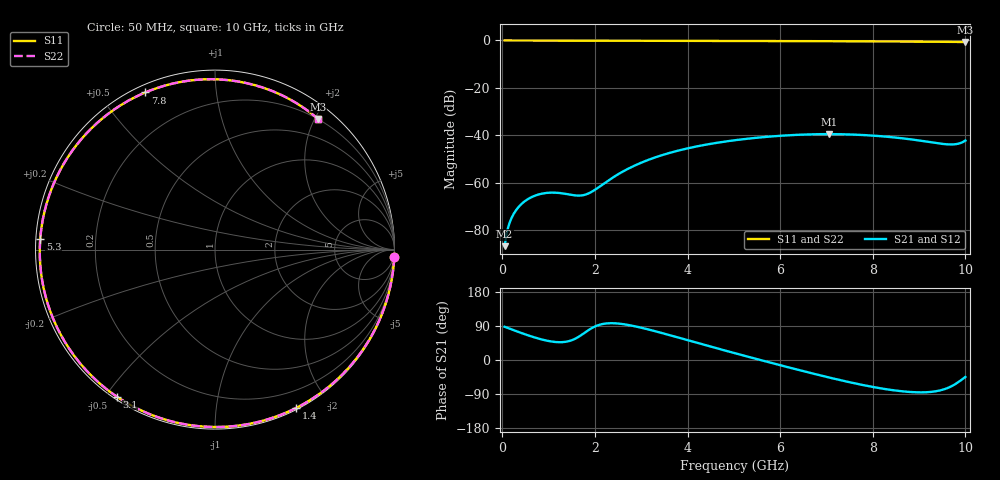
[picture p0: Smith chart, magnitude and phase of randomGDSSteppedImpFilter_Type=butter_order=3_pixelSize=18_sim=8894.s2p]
! freq	dB(S11)	phase(S11)	dB(S12)	phase(S12)
!  dB(S21)	phase(S21)	dB(S22)	phase(S22)
!S-par simulation data
#  GHz  S  DB  R 50
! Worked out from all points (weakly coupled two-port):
!   200 points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, 50 MHz to 10 GHz, reference 50 ohm
!   highest |S21| = -39.56 dB at 7.05 GHz (marker M1); lowest = -86.9 dB at 50 MHz (marker M2)
!   lowest |S11| = -0.7 dB at 10 GHz (marker M3), VSWR 26.36, Z = 9.92 + j102 ohm
!   |S11| at or under -10 dB: nowhere
!   |S22| runs from -0.7 to 0.0 dB; largest |S21 - S12| = 0
!   S11 on the Smith chart (normalised r, x): 50 MHz: 0, -48; 1.4 GHz: 0.02, -1.63; 3.1 GHz: 0.01, -0.53; 5.3 GHz: 0.01, +0.03; 7.8 GHz: 0.03, +0.65; 10 GHz: 0.20, +2.05
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0.05  -0.00 -2.4  -86.89 87.7  -86.89 87.7  -0.00 -2.4
0.1  -0.01 -4.8  -80.90 85.4  -80.90 85.4  -0.01 -4.8
0.2  -0.01 -9.5  -74.97 80.8  -74.97 80.8  -0.01 -9.5
0.35  -0.02 -16.5  -70.38 74.0  -70.38 74.0  -0.02 -16.5
0.6  -0.04 -28.0  -66.50 63.3  -66.50 63.3  -0.04 -28.0
0.95  -0.06 -43.7  -64.41 51.3  -64.41 51.3  -0.06 -43.7
1.4  -0.08 -63.0  -64.92 48.8  -64.92 48.8  -0.08 -63.0
1.75  -0.09 -77.0  -65.34 69.4  -65.34 69.4  -0.09 -77.0
2.35  -0.11 -99.2  -58.38 97.1  -58.38 97.1  -0.11 -99.2
3.1  -0.13 -123.8  -50.84 82.3  -50.84 82.3  -0.13 -123.8
3.4  -0.14 -132.8  -48.75 72.7  -48.75 72.7  -0.14 -132.8
4.2  -0.17 -155.3  -44.75 45.6  -44.75 45.6  -0.17 -155.3
5.05  -0.20 -177.3  -42.07 17.0  -42.07 17.0  -0.20 -177.3
5.3  -0.22 176.4  -41.49 8.8  -41.49 8.8  -0.22 176.4
6  -0.25 159.1  -40.27 -13.7  -40.27 -13.7  -0.25 159.1
6.7  -0.30 141.9  -39.64 -35.5  -39.64 -35.5  -0.30 141.9
7.05  -0.32 133.1  -39.56 -46.0  -39.56 -46.0  -0.32 133.1
7.8  -0.37 113.9  -39.96 -66.4  -39.96 -66.4  -0.37 113.9
8.35  -0.42 99.2  -40.75 -78.2  -40.75 -78.2  -0.42 99.2
9  -0.49 81.1  -42.24 -85.4  -42.24 -85.4  -0.49 81.1
9.65  -0.59 62.2  -43.92 -72.1  -43.92 -72.1  -0.59 62.2
10  -0.66 51.7  -42.29 -44.6  -42.29 -44.6  -0.66 51.7
